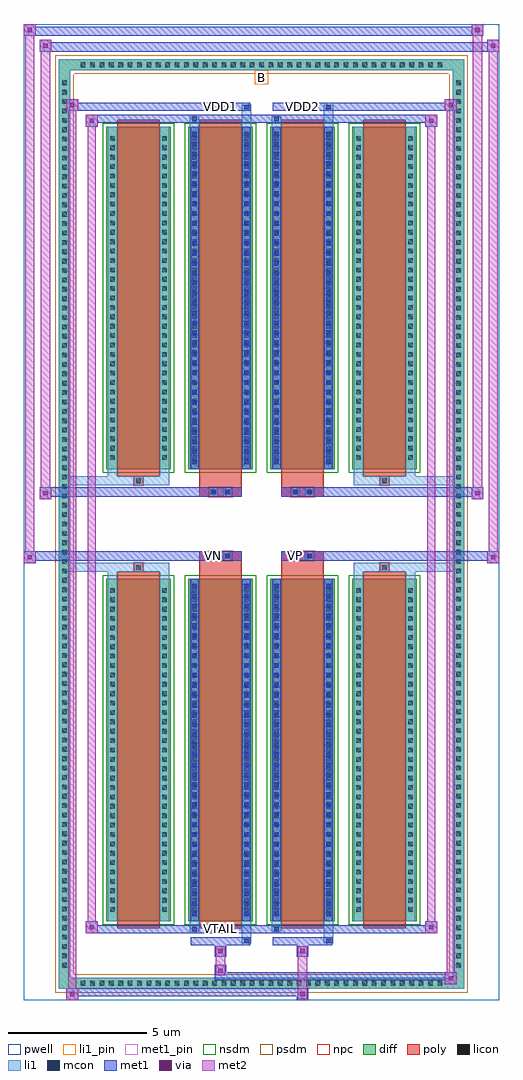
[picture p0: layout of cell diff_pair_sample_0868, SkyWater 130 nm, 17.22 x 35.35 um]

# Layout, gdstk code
import gdstk
lib = gdstk.Library(unit=1e-6, precision=5e-09)
def R(c, l, rs):  # rectangles x0, y0, x1, y1
    for r in rs: c.add(gdstk.rectangle(r[:2], r[2:], *l))
def A(c, l, x, y, w, h, nx, ny, dx, dy):  # array of equal rectangles
    R(c, l, [(x+i*dx, y+j*dy, x+i*dx+w, y+j*dy+h) for i in range(nx) for j in range(ny)])
def P(c, l, *ps):  # polygons
    for p in ps: c.add(gdstk.Polygon(p, *l))
pwell = (64, 44)
diff = (65, 20)
poly = (66, 20)
licon = (66, 44)
li1_pin = (67, 16)
li1 = (67, 20)
mcon = (67, 44)
met1_pin = (68, 16)
met1 = (68, 20)
via = (68, 44)
met2 = (69, 20)
nsdm = (93, 44)
psdm = (94, 20)
npc = (95, 20)

diff_pair_sample_0868 = lib.new_cell('diff_pair_sample_0868')
R(diff_pair_sample_0868, pwell, [(-8.61,-17.24,8.61,18.11), (-5.93,-15.43,-0.01,-0.795), (0.01,-15.43,5.93,-0.795), (-5.93,0.795,-0.01,15.43), (0.01,0.795,5.93,15.43)])
A(diff_pair_sample_0868, diff, -6.665, -16.84, 0.41, 0.41, 39, 2, 0.34, 33.27)
A(diff_pair_sample_0868, diff, -7.34, -16.185, 0.41, 0.41, 1, 95, 0, 0.34)
A(diff_pair_sample_0868, diff, 6.93, -16.185, 0.41, 0.41, 1, 95, 0, 0.34)
A(diff_pair_sample_0868, diff, -5.62, -14.385, 2.33, 12.4, 4, 2, 2.97, 16.37)
R(diff_pair_sample_0868, diff, [(-6.665,-16.84,6.665,-16.43), (-7.34,-16.185,-6.93,16.185), (6.93,-16.185,7.34,16.185), (-6.665,16.43,6.665,16.84)])
P(diff_pair_sample_0868, diff, [(7.34,16.84),(-7.34,16.84),(-7.34,-16.43),(-6.93,-16.43),(-6.93,16.43),(6.93,16.43),(6.93,-16.43),(-6.93,-16.43),(-7.34,-16.43),(-7.34,-16.84),(7.34,-16.84)])
A(diff_pair_sample_0868, poly, -5.23, -14.635, 1.55, 12.9, 4, 2, 2.97, 16.37)
R(diff_pair_sample_0868, poly, [(-4.62,-1.735,-4.29,-1.405), (-4.62,-1.735,-4.29,-1.405), (-2.26,-1.735,-0.71,-1.325), (0.71,-1.735,2.26,-1.325), (4.29,-1.735,4.62,-1.405), (4.29,-1.735,4.62,-1.405), (-2.26,-1.325,-0.71,-0.995), (-1.9,-1.325,-1.57,-0.995), (-1.4,-1.325,-1.07,-0.995), (0.71,-1.325,2.26,-0.995), (1.07,-1.325,1.4,-0.995), (1.57,-1.325,1.9,-0.995), (-2.26,0.995,-0.71,1.325), (-1.9,0.995,-1.57,1.325), (-1.4,0.995,-1.07,1.325), (0.71,0.995,2.26,1.325), (1.07,0.995,1.4,1.325), (1.57,0.995,1.9,1.325), (-2.26,1.325,-0.71,1.735), (0.71,1.325,2.26,1.735), (-4.62,1.405,-4.29,1.735), (-4.62,1.405,-4.29,1.735), (4.29,1.405,4.62,1.735), (4.29,1.405,4.62,1.735)])
A(diff_pair_sample_0868, licon, -6.545, -16.72, 0.17, 0.17, 39, 2, 0.34, 33.27)
A(diff_pair_sample_0868, licon, -7.22, -16.065, 0.17, 0.17, 1, 95, 0, 0.34)
A(diff_pair_sample_0868, licon, 7.05, -16.065, 0.17, 0.17, 1, 95, 0, 0.34)
A(diff_pair_sample_0868, licon, -5.48, -14.05, 0.17, 0.17, 1, 35, 0, 0.34)
A(diff_pair_sample_0868, licon, -3.6, -14.05, 0.17, 0.17, 1, 35, 0, 0.34)
A(diff_pair_sample_0868, licon, -2.51, -14.05, 0.17, 0.17, 1, 35, 0, 0.34)
A(diff_pair_sample_0868, licon, -0.63, -14.05, 0.17, 0.17, 1, 35, 0, 0.34)
A(diff_pair_sample_0868, licon, 0.46, -14.05, 0.17, 0.17, 1, 35, 0, 0.34)
A(diff_pair_sample_0868, licon, 2.34, -14.05, 0.17, 0.17, 1, 35, 0, 0.34)
A(diff_pair_sample_0868, licon, 3.43, -14.05, 0.17, 0.17, 1, 35, 0, 0.34)
A(diff_pair_sample_0868, licon, 5.31, -14.05, 0.17, 0.17, 1, 35, 0, 0.34)
A(diff_pair_sample_0868, licon, -5.48, 2.32, 0.17, 0.17, 1, 35, 0, 0.34)
A(diff_pair_sample_0868, licon, -3.6, 2.32, 0.17, 0.17, 1, 35, 0, 0.34)
A(diff_pair_sample_0868, licon, -2.51, 2.32, 0.17, 0.17, 1, 35, 0, 0.34)
A(diff_pair_sample_0868, licon, -0.63, 2.32, 0.17, 0.17, 1, 35, 0, 0.34)
A(diff_pair_sample_0868, licon, 0.46, 2.32, 0.17, 0.17, 1, 35, 0, 0.34)
A(diff_pair_sample_0868, licon, 2.34, 2.32, 0.17, 0.17, 1, 35, 0, 0.34)
A(diff_pair_sample_0868, licon, 3.43, 2.32, 0.17, 0.17, 1, 35, 0, 0.34)
A(diff_pair_sample_0868, licon, 5.31, 2.32, 0.17, 0.17, 1, 35, 0, 0.34)
R(diff_pair_sample_0868, licon, [(-4.54,-1.655,-4.37,-1.485), (4.37,-1.655,4.54,-1.485), (-1.82,-1.245,-1.65,-1.075), (-1.32,-1.245,-1.15,-1.075), (1.15,-1.245,1.32,-1.075), (1.65,-1.245,1.82,-1.075), (-1.82,1.075,-1.65,1.245), (-1.32,1.075,-1.15,1.245), (1.15,1.075,1.32,1.245), (1.65,1.075,1.82,1.245), (-4.54,1.485,-4.37,1.655), (4.37,1.485,4.54,1.655)])
R(diff_pair_sample_0868, li1_pin, [(-0.25,15.93,0.25,16.43)])
A(diff_pair_sample_0868, li1, -6.625, -16.8, 0.33, 0.33, 39, 2, 0.34, 33.27)
A(diff_pair_sample_0868, li1, -7.3, -16.145, 0.33, 0.33, 1, 95, 0, 0.34)
A(diff_pair_sample_0868, li1, 6.97, -16.145, 0.33, 0.33, 1, 95, 0, 0.34)
A(diff_pair_sample_0868, li1, -2.51, -14.21, 0.17, 0.17, 1, 34, 0, 0.36)
A(diff_pair_sample_0868, li1, -0.63, -14.21, 0.17, 0.17, 1, 34, 0, 0.36)
A(diff_pair_sample_0868, li1, 0.46, -14.21, 0.17, 0.17, 1, 34, 0, 0.36)
A(diff_pair_sample_0868, li1, 2.34, -14.21, 0.17, 0.17, 1, 34, 0, 0.36)
A(diff_pair_sample_0868, li1, -5.56, -14.13, 0.33, 0.33, 1, 35, 0, 0.34)
A(diff_pair_sample_0868, li1, -3.68, -14.13, 0.33, 0.33, 1, 35, 0, 0.34)
A(diff_pair_sample_0868, li1, -2.59, -14.13, 0.33, 0.33, 1, 35, 0, 0.34)
A(diff_pair_sample_0868, li1, -0.71, -14.13, 0.33, 0.33, 1, 35, 0, 0.34)
A(diff_pair_sample_0868, li1, 0.38, -14.13, 0.33, 0.33, 1, 35, 0, 0.34)
A(diff_pair_sample_0868, li1, 2.26, -14.13, 0.33, 0.33, 1, 35, 0, 0.34)
A(diff_pair_sample_0868, li1, 3.35, -14.13, 0.33, 0.33, 1, 35, 0, 0.34)
A(diff_pair_sample_0868, li1, 5.23, -14.13, 0.33, 0.33, 1, 35, 0, 0.34)
A(diff_pair_sample_0868, li1, -2.51, 2.16, 0.17, 0.17, 1, 34, 0, 0.36)
A(diff_pair_sample_0868, li1, -0.63, 2.16, 0.17, 0.17, 1, 34, 0, 0.36)
A(diff_pair_sample_0868, li1, 0.46, 2.16, 0.17, 0.17, 1, 34, 0, 0.36)
A(diff_pair_sample_0868, li1, 2.34, 2.16, 0.17, 0.17, 1, 34, 0, 0.36)
A(diff_pair_sample_0868, li1, -5.56, 2.24, 0.33, 0.33, 1, 35, 0, 0.34)
A(diff_pair_sample_0868, li1, -3.68, 2.24, 0.33, 0.33, 1, 35, 0, 0.34)
A(diff_pair_sample_0868, li1, -2.59, 2.24, 0.33, 0.33, 1, 35, 0, 0.34)
A(diff_pair_sample_0868, li1, -0.71, 2.24, 0.33, 0.33, 1, 35, 0, 0.34)
A(diff_pair_sample_0868, li1, 0.38, 2.24, 0.33, 0.33, 1, 35, 0, 0.34)
A(diff_pair_sample_0868, li1, 2.26, 2.24, 0.33, 0.33, 1, 35, 0, 0.34)
A(diff_pair_sample_0868, li1, 3.35, 2.24, 0.33, 0.33, 1, 35, 0, 0.34)
A(diff_pair_sample_0868, li1, 5.23, 2.24, 0.33, 0.33, 1, 35, 0, 0.34)
R(diff_pair_sample_0868, li1, [(-7.34,-16.84,-6.93,-16.43), (-7.34,-16.84,-6.93,-16.43), (-6.93,-16.84,6.93,-16.43), (6.93,-16.84,7.34,-16.43), (6.93,-16.84,7.34,-16.43), (-7.34,-16.43,-6.93,16.43), (6.93,-16.43,7.34,16.43), (-0.71,-15.19,-0.38,-14.385), (-0.63,-15.19,-0.46,-15.02), (2.26,-15.19,2.59,-14.385), (2.34,-15.19,2.51,-15.02), (-2.59,-14.76,-2.26,-14.385), (-2.51,-14.76,-2.34,-14.59), (0.38,-14.76,0.71,-14.385), (0.46,-14.76,0.63,-14.59), (-5.56,-14.385,-5.23,-1.985), (-3.68,-14.385,-3.35,-1.985), (-2.59,-14.385,-2.26,-1.985), (-0.71,-14.385,-0.38,-1.985), (0.38,-14.385,0.71,-1.985), (2.26,-14.385,2.59,-1.985), (3.35,-14.385,3.68,-1.985), (5.23,-14.385,5.56,-1.985), (-2.51,-14.21,-2.34,-2.16), (-0.63,-14.21,-0.46,-2.16), (0.46,-14.21,0.63,-2.16), (2.34,-14.21,2.51,-2.16), (-5.56,-1.985,-5.23,-1.405), (-3.68,-1.985,-3.35,-1.405), (3.35,-1.985,3.68,-1.405), (5.23,-1.985,5.56,-1.405), (-7.34,-1.735,-4.62,-1.405), (-5.56,-1.735,-4.62,-1.405), (-4.62,-1.735,-4.29,-1.405), (-4.29,-1.735,-3.35,-1.405), (3.35,-1.735,4.29,-1.405), (4.29,-1.735,4.62,-1.405), (4.29,-1.735,7.34,-1.405), (4.62,-1.735,5.56,-1.405), (-1.9,-1.325,-1.57,-0.995), (-1.4,-1.325,-1.07,-0.995), (1.07,-1.325,1.4,-0.995), (1.57,-1.325,1.9,-0.995), (-1.9,0.995,-1.57,1.325), (-1.4,0.995,-1.07,1.325), (1.07,0.995,1.4,1.325), (1.57,0.995,1.9,1.325), (-7.34,1.405,-4.62,1.735), (-5.56,1.405,-4.62,1.735), (-5.56,1.405,-5.23,1.985), (-4.62,1.405,-4.29,1.735), (-4.29,1.405,-3.35,1.735), (-3.68,1.405,-3.35,1.985), (3.35,1.405,4.29,1.735), (3.35,1.405,3.68,1.985), (4.29,1.405,4.62,1.735), (4.29,1.405,7.34,1.735), (4.62,1.405,5.56,1.735), (5.23,1.405,5.56,1.985), (-5.56,1.985,-5.23,14.385), (-3.68,1.985,-3.35,14.385), (-2.59,1.985,-2.26,14.385), (-0.71,1.985,-0.38,14.385), (0.38,1.985,0.71,14.385), (2.26,1.985,2.59,14.385), (3.35,1.985,3.68,14.385), (5.23,1.985,5.56,14.385), (-2.51,2.16,-2.34,14.21), (-0.63,2.16,-0.46,14.21), (0.46,2.16,0.63,14.21), (2.34,2.16,2.51,14.21), (-2.59,14.385,-2.26,14.76), (-0.71,14.385,-0.38,15.19), (0.38,14.385,0.71,14.76), (2.26,14.385,2.59,15.19), (-2.51,14.59,-2.34,14.76), (0.46,14.59,0.63,14.76), (-0.63,15.02,-0.46,15.19), (2.34,15.02,2.51,15.19), (-7.34,16.43,-6.93,16.84), (-7.34,16.43,-6.93,16.84), (-6.93,16.43,6.93,16.84), (6.93,16.43,7.34,16.84), (6.93,16.43,7.34,16.84)])
A(diff_pair_sample_0868, mcon, -2.51, -14.21, 0.17, 0.17, 1, 34, 0, 0.36)
A(diff_pair_sample_0868, mcon, -0.63, -14.21, 0.17, 0.17, 1, 34, 0, 0.36)
A(diff_pair_sample_0868, mcon, 0.46, -14.21, 0.17, 0.17, 1, 34, 0, 0.36)
A(diff_pair_sample_0868, mcon, 2.34, -14.21, 0.17, 0.17, 1, 34, 0, 0.36)
A(diff_pair_sample_0868, mcon, -2.51, 2.16, 0.17, 0.17, 1, 34, 0, 0.36)
A(diff_pair_sample_0868, mcon, -0.63, 2.16, 0.17, 0.17, 1, 34, 0, 0.36)
A(diff_pair_sample_0868, mcon, 0.46, 2.16, 0.17, 0.17, 1, 34, 0, 0.36)
A(diff_pair_sample_0868, mcon, 2.34, 2.16, 0.17, 0.17, 1, 34, 0, 0.36)
R(diff_pair_sample_0868, mcon, [(-0.63,-15.19,-0.46,-15.02), (2.34,-15.19,2.51,-15.02), (-2.51,-14.76,-2.34,-14.59), (0.46,-14.76,0.63,-14.59), (-1.82,-1.245,-1.65,-1.075), (-1.32,-1.245,-1.15,-1.075), (1.15,-1.245,1.32,-1.075), (1.65,-1.245,1.82,-1.075), (-1.82,1.075,-1.65,1.245), (-1.32,1.075,-1.15,1.245), (1.15,1.075,1.32,1.245), (1.65,1.075,1.82,1.245), (-2.51,14.59,-2.34,14.76), (0.46,14.59,0.63,14.76), (-0.63,15.02,-0.46,15.19), (2.34,15.02,2.51,15.19)])
R(diff_pair_sample_0868, met1_pin, [(-1.62,-14.8,-1.35,-14.53), (-1.87,-1.285,-1.6,-1.015), (1.1,-1.285,1.37,-1.015), (-1.62,14.98,-1.35,15.25), (1.35,14.98,1.62,15.25)])
A(diff_pair_sample_0868, met1, -2.57, -14.27, 0.29, 0.29, 1, 34, 0, 0.36)
A(diff_pair_sample_0868, met1, -0.69, -14.27, 0.29, 0.29, 1, 34, 0, 0.36)
A(diff_pair_sample_0868, met1, 0.4, -14.27, 0.29, 0.29, 1, 34, 0, 0.36)
A(diff_pair_sample_0868, met1, 2.28, -14.27, 0.29, 0.29, 1, 34, 0, 0.36)
A(diff_pair_sample_0868, met1, -2.57, 2.1, 0.29, 0.29, 1, 34, 0, 0.36)
A(diff_pair_sample_0868, met1, -0.69, 2.1, 0.29, 0.29, 1, 34, 0, 0.36)
A(diff_pair_sample_0868, met1, 0.4, 2.1, 0.29, 0.29, 1, 34, 0, 0.36)
A(diff_pair_sample_0868, met1, 2.28, 2.1, 0.29, 0.29, 1, 34, 0, 0.36)
R(diff_pair_sample_0868, met1, [(-7.07,-17.24,-6.64,-16.81), (1.27,-17.24,1.7,-16.81), (-7.07,-17.1,1.7,-16.81), (6.64,-16.67,7.07,-16.24), (-1.7,-16.53,7.07,-16.24), (-1.7,-16.39,-1.27,-15.96), (-1.7,-15.68,-1.27,-15.25), (1.27,-15.68,1.7,-15.25), (-2.57,-15.25,-0.4,-14.96), (-0.69,-15.25,-0.4,-14.96), (0.4,-15.25,2.57,-14.96), (2.28,-15.25,2.57,-14.96), (-6.36,-14.82,-5.93,-14.39), (-6.36,-14.82,-2.57,-14.53), (-2.57,-14.82,-2.28,-14.53), (-2.57,-14.82,-0.4,-14.53), (-0.4,-14.82,0.4,-14.53), (0.4,-14.82,0.69,-14.53), (0.4,-14.82,2.57,-14.53), (2.57,-14.82,6.36,-14.53), (5.93,-14.82,6.36,-14.39), (-2.57,-14.385,-2.28,-1.985), (-0.69,-14.385,-0.4,-1.985), (0.4,-14.385,0.69,-1.985), (2.28,-14.385,2.57,-1.985), (-8.61,-1.425,-8.18,-0.995), (8.18,-1.425,8.61,-0.995), (-8.61,-1.325,-0.71,-0.995), (-2.26,-1.325,-0.71,-0.995), (0.71,-1.325,2.26,-0.995), (0.71,-1.325,8.61,-0.995), (-1.88,-1.305,-1.59,-1.015), (-1.38,-1.305,-1.09,-1.015), (1.09,-1.305,1.38,-1.015), (1.59,-1.305,1.88,-1.015), (-8.04,0.895,-7.61,1.325), (7.61,0.895,8.04,1.325), (-8.04,0.995,-2.26,1.325), (-2.26,0.995,-0.71,1.325), (0.71,0.995,2.26,1.325), (2.26,0.995,8.04,1.325), (-1.88,1.015,-1.59,1.305), (-1.38,1.015,-1.09,1.305), (1.09,1.015,1.38,1.305), (1.59,1.015,1.88,1.305), (-2.57,1.985,-2.28,14.385), (-0.69,1.985,-0.4,14.385), (0.4,1.985,0.69,14.385), (2.28,1.985,2.57,14.385), (-6.36,14.39,-5.93,14.82), (5.93,14.39,6.36,14.82), (-6.36,14.53,-2.57,14.82), (-2.57,14.53,-2.28,14.82), (-2.57,14.53,-0.4,14.82), (-0.4,14.53,0.4,14.82), (0.4,14.53,0.69,14.82), (0.4,14.53,2.57,14.82), (2.57,14.53,6.36,14.82), (-7.07,14.96,-6.64,15.39), (-7.07,14.96,-2.57,15.25), (-2.57,14.96,-0.4,15.25), (-0.69,14.96,-0.4,15.25), (0.4,14.96,2.57,15.25), (2.28,14.96,2.57,15.25), (2.57,14.96,7.07,15.25), (6.64,14.96,7.07,15.39), (-8.04,17.11,-7.61,17.54), (-8.04,17.11,-5.93,17.44), (-5.93,17.11,5.93,17.44), (5.93,17.11,8.61,17.44), (8.18,17.11,8.61,17.54), (-8.61,17.68,-8.18,18.11), (-8.61,17.68,-5.93,18.01), (-5.93,17.68,5.93,18.01), (5.93,17.68,8.04,18.01), (7.61,17.68,8.04,18.11)])
R(diff_pair_sample_0868, via, [(-6.93,-17.1,-6.78,-16.95), (1.41,-17.1,1.56,-16.95), (6.78,-16.53,6.93,-16.38), (-1.56,-16.25,-1.41,-16.1), (-1.56,-15.54,-1.41,-15.39), (1.41,-15.54,1.56,-15.39), (-6.22,-14.68,-6.07,-14.53), (6.07,-14.68,6.22,-14.53), (-8.47,-1.285,-8.32,-1.135), (8.32,-1.285,8.47,-1.135), (-7.9,1.035,-7.75,1.185), (7.75,1.035,7.9,1.185), (-6.22,14.53,-6.07,14.68), (6.07,14.53,6.22,14.68), (-6.93,15.1,-6.78,15.25), (6.78,15.1,6.93,15.25), (-7.9,17.25,-7.75,17.4), (8.32,17.25,8.47,17.4), (-8.47,17.82,-8.32,17.97), (7.75,17.82,7.9,17.97)])
R(diff_pair_sample_0868, met2, [(-7.07,-17.24,-6.64,-16.81), (-7,-17.24,-6.71,15.39), (-6.71,-17.24,-6.64,-16.81), (-7.02,-17.19,-6.69,-16.86), (1.32,-17.19,1.65,-16.86), (1.32,-16.86,1.65,-15.63), (6.64,-16.67,7.07,-16.24), (6.71,-16.67,7,15.39), (7,-16.67,7.07,-16.24), (6.69,-16.62,7.02,-16.29), (-1.65,-16.34,-1.32,-16.01), (-1.65,-16.01,-1.32,-15.63), (-1.65,-15.63,-1.32,-15.3), (1.32,-15.63,1.65,-15.3), (-6.36,-14.82,-5.93,-14.39), (-6.29,-14.82,-6,14.82), (-6,-14.82,-5.93,-14.39), (5.93,-14.82,6.36,-14.39), (6,-14.82,6.29,14.82), (6.29,-14.82,6.36,-14.39), (-6.31,-14.77,-5.98,-14.44), (5.98,-14.77,6.31,-14.44), (-8.61,-1.425,-8.18,-0.995), (-8.56,-1.425,-8.23,18.11), (-8.23,-1.425,-8.18,-0.995), (8.18,-1.425,8.61,-0.995), (8.23,-1.425,8.56,17.54), (8.56,-1.425,8.61,-0.995), (-8.56,-1.375,-8.23,-1.045), (8.23,-1.375,8.56,-1.045), (-8.04,0.895,-7.61,1.325), (-7.99,0.895,-7.66,17.54), (-7.66,0.895,-7.61,1.325), (7.61,0.895,8.04,1.325), (7.66,0.895,7.99,18.11), (7.99,0.895,8.04,1.325), (-7.99,0.945,-7.66,1.275), (7.66,0.945,7.99,1.275), (-6.36,14.39,-5.93,14.82), (-6,14.39,-5.93,14.82), (5.93,14.39,6.36,14.82), (6.29,14.39,6.36,14.82), (-6.31,14.44,-5.98,14.77), (5.98,14.44,6.31,14.77), (-7.07,14.96,-6.64,15.39), (-6.71,14.96,-6.64,15.39), (6.64,14.96,7.07,15.39), (7,14.96,7.07,15.39), (-7.02,15.01,-6.69,15.34), (6.69,15.01,7.02,15.34), (-8.04,17.11,-7.61,17.54), (-7.66,17.11,-7.61,17.54), (8.18,17.11,8.61,17.54), (8.56,17.11,8.61,17.54), (-7.99,17.16,-7.66,17.49), (8.23,17.16,8.56,17.49), (-8.61,17.68,-8.18,18.11), (-8.23,17.68,-8.18,18.11), (7.61,17.68,8.04,18.11), (7.99,17.68,8.04,18.11), (-8.56,17.73,-8.23,18.06), (7.66,17.73,7.99,18.06)])
A(diff_pair_sample_0868, nsdm, -5.75, -14.515, 2.59, 12.66, 4, 2, 2.97, 16.37)
P(diff_pair_sample_0868, psdm, [(7.47,16.97),(-7.47,16.97),(-7.47,-16.3),(-6.8,-16.3),(-6.8,16.3),(6.8,16.3),(6.8,-16.3),(-6.8,-16.3),(-7.47,-16.3),(-7.47,-16.97),(7.47,-16.97)])
R(diff_pair_sample_0868, npc, [(-4.64,-1.755,-4.27,-1.385), (4.27,-1.755,4.64,-1.385), (-1.92,-1.345,-1.55,-0.975), (-1.92,-1.345,-1.05,-0.975), (-1.92,-1.345,-1.05,-0.975), (-1.42,-1.345,-1.05,-0.975), (1.05,-1.345,1.42,-0.975), (1.05,-1.345,1.92,-0.975), (1.05,-1.345,1.92,-0.975), (1.55,-1.345,1.92,-0.975), (-1.92,0.975,-1.55,1.345), (-1.92,0.975,-1.05,1.345), (-1.92,0.975,-1.05,1.345), (-1.42,0.975,-1.05,1.345), (1.05,0.975,1.42,1.345), (1.05,0.975,1.92,1.345), (1.05,0.975,1.92,1.345), (1.55,0.975,1.92,1.345), (-4.64,1.385,-4.27,1.755), (4.27,1.385,4.64,1.755)])
diff_pair_sample_0868.add(gdstk.Label('VTAIL', (-1.485,-14.665), layer=68, texttype=5))
diff_pair_sample_0868.add(gdstk.Label('VN', (-1.735,-1.15), layer=68, texttype=5))
diff_pair_sample_0868.add(gdstk.Label('VP', (1.235,-1.15), layer=68, texttype=5))
diff_pair_sample_0868.add(gdstk.Label('B', (0,16.18), layer=67, texttype=5))
diff_pair_sample_0868.add(gdstk.Label('VDD2', (1.485,15.115), layer=68, texttype=5))
diff_pair_sample_0868.add(gdstk.Label('VDD1', (-1.485,15.115), layer=68, texttype=5))

lib.write_gds('diff_pair_sample_0868.gds')
